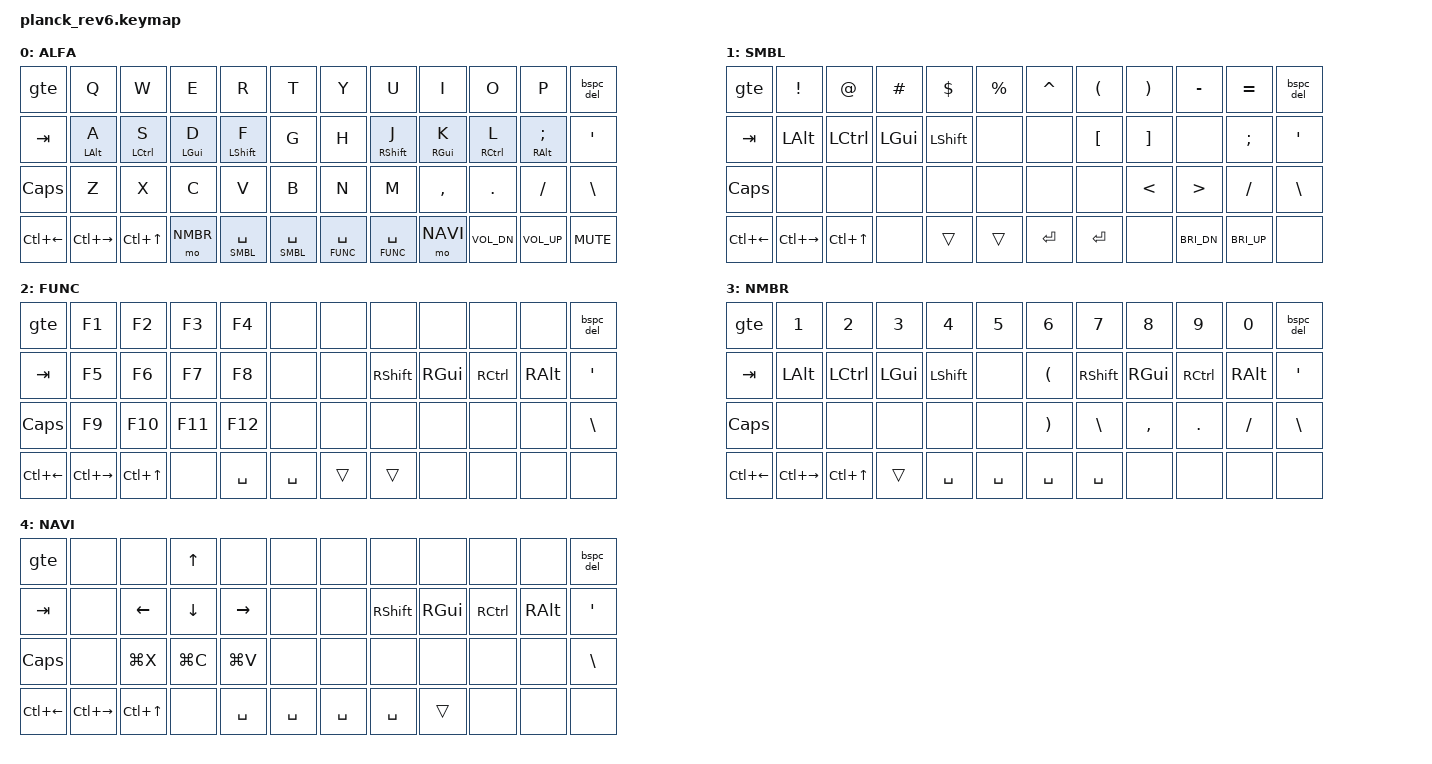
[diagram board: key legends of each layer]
#include <behaviors.dtsi>
#include <dt-bindings/zmk/keys.h>
#define ALFA 0
#define SMBL 1
#define FUNC 2
#define NMBR 3
#define NAVI 4
/ {
    behaviors {
        hm: homerow_mods {
            compatible = "zmk,behavior-hold-tap";
            label = "HOMEROW_MODS";
            #binding-cells = <2>;
            tapping-term-ms = <200>;
            quick-tap-ms = <125>;
            flavor = "tap-preferred";
            bindings = <&kp>, <&kp >;
        };
        gte: tap_dance_2 {
            compatible = "zmk,behavior-tap-dance";
            label = "TAP_DANCE_2";
            #binding-cells = <0>;
            tapping-term-ms = <250>;
            bindings = <&kp GRAVE>, <&kp TILDE>, <&kp ESC>;
        };
        bspc_del: backspace_delete {
            compatible = "zmk,behavior-mod-morph";
            label = "BACKSPACE_DELETE";
            #binding-cells = <0>;
            bindings = <&kp BACKSPACE>, <&kp DELETE>;
            mods = <(MOD_LSFT|MOD_RSFT)>;
            keep-mods = <(MOD_RSFT)>;
        };
    };
    keymap {
        compatible = "zmk,keymap";
        ALFA { bindings = <
            &gte            &kp Q           &kp W        &kp E        &kp R            &kp T            &kp Y            &kp U            &kp I        &kp O          &kp P            &bspc_del
            &kp TAB         &hm LALT A      &hm LCTRL S  &hm LGUI D   &hm LSHIFT F     &kp G            &kp H            &hm RSHIFT J     &hm RGUI K   &hm RCTRL L    &hm RALT SEMI    &kp SQT
            &kp CAPS        &kp Z           &kp X        &kp C        &kp V            &kp B            &kp N            &kp M            &kp COMMA    &kp DOT        &kp FSLH         &kp BSLH
            &kp LC(LEFT)    &kp LC(RIGHT)   &kp LC(UP)   &mo NMBR     &lt SMBL SPACE   &lt SMBL SPACE   &lt FUNC SPACE   &lt FUNC SPACE   &mo NAVI     &kp C_VOL_DN   &kp C_VOL_UP     &kp C_MUTE
            >;
        };
        SMBL { bindings = <
            &gte            &kp EXCL        &kp AT       &kp HASH     &kp DOLLAR       &kp PERCENT      &kp CARET        &kp LPAR         &kp RPAR     &kp MINUS      &kp EQUAL        &bspc_del
            &kp TAB         &kp LALT        &kp LCTRL    &kp LGUI     &kp LSHIFT       &none            &none            &kp LBKT         &kp RBKT     &none          &kp SEMI         &kp SQT
            &kp CAPS        &none           &none        &none        &none            &none            &none            &none            &kp LT       &kp GT         &kp FSLH         &kp BSLH
            &kp LC(LEFT)    &kp LC(RIGHT)   &kp LC(UP)   &none        &trans           &trans           &kp RET          &kp RET          &none        &kp C_BRI_DN   &kp C_BRI_UP     &none
            >;
        };
        FUNC { bindings = <
            &gte            &kp F1          &kp F2       &kp F3       &kp F4           &none            &none            &none            &none        &none          &none            &bspc_del
            &kp TAB         &kp F5          &kp F6       &kp F7       &kp F8           &none            &none            &kp RSHIFT       &kp RGUI     &kp RCTRL      &kp RALT         &kp SQT
            &kp CAPS        &kp F9          &kp F10      &kp F11      &kp F12          &none            &none            &none            &none        &none          &none            &kp BSLH
            &kp LC(LEFT)    &kp LC(RIGHT)   &kp LC(UP)   &none        &kp SPACE        &kp SPACE        &trans           &trans           &none        &none          &none            &none
            >;
        };
        NMBR { bindings = <
            &gte            &kp N1          &kp N2       &kp N3       &kp N4           &kp N5           &kp N6           &kp N7           &kp N8       &kp N9         &kp N0           &bspc_del
            &kp TAB         &kp LALT        &kp LCTRL    &kp LGUI     &kp LSHIFT       &none            &kp LPAR         &kp RSHIFT       &kp RGUI     &kp RCTRL      &kp RALT         &kp SQT
            &kp CAPS        &none           &none        &none        &none            &none            &kp RPAR         &kp BSLH         &kp COMMA    &kp DOT        &kp FSLH         &kp BSLH
            &kp LC(LEFT)    &kp LC(RIGHT)   &kp LC(UP)   &trans       &kp SPACE        &kp SPACE        &kp SPACE        &kp SPACE        &none        &none          &none            &none
            >;
        };
        NAVI { bindings = <
            &gte            &none           &none        &kp UP       &none            &none            &none            &none            &none        &none          &none            &bspc_del
            &kp TAB         &none           &kp LEFT     &kp DOWN     &kp RIGHT        &none            &none            &kp RSHIFT       &kp RGUI     &kp RCTRL      &kp RALT         &kp SQT
            &kp CAPS        &none           &kp LG(X)    &kp LG(C)    &kp LG(V)        &none            &none            &none            &none        &none          &none            &kp BSLH
            &kp LC(LEFT)    &kp LC(RIGHT)   &kp LC(UP)   &none        &kp SPACE        &kp SPACE        &kp SPACE        &kp SPACE        &trans       &none          &none            &none
            >;
        };
    };
};
